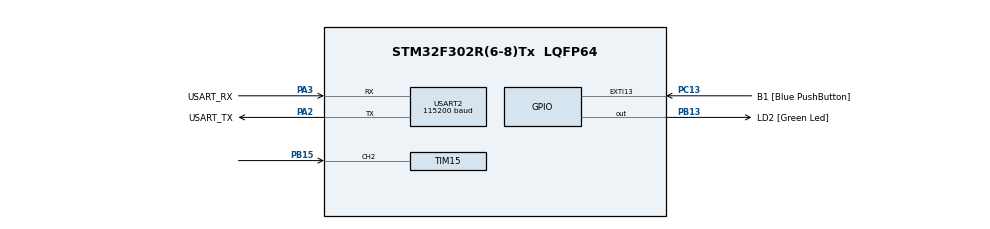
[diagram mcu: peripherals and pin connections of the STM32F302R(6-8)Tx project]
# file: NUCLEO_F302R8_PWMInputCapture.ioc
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Mcu.Family=STM32F3
Mcu.Name=STM32F302R(6-8)Tx
Mcu.Package=LQFP64
NVIC.PriorityGroup=NVIC_PRIORITYGROUP_0
NVIC.TIM1_BRK_TIM15_IRQn=true\:0\:0\:false\:false\:false\:true\:true
PA13.GPIO_Label=TMS
PA13.Mode=Trace_Asynchronous_SW
PA13.Signal=SYS_JTMS-SWDIO
PA14.GPIO_Label=TCK
PA14.Mode=Trace_Asynchronous_SW
PA14.Signal=SYS_JTCK-SWCLK
PA2.GPIO_Label=USART_TX
PA2.GPIO_Mode=GPIO_MODE_AF_PP
PA2.GPIO_PuPd=GPIO_NOPULL
PA2.GPIO_Speed=GPIO_SPEED_FREQ_LOW
PA2.Mode=Asynchronous
PA2.Signal=USART2_TX
PA3.GPIO_Label=USART_RX
PA3.GPIO_Mode=GPIO_MODE_AF_PP
PA3.GPIO_PuPd=GPIO_NOPULL
PA3.GPIO_Speed=GPIO_SPEED_FREQ_LOW
PA3.Mode=Asynchronous
PA3.Signal=USART2_RX
PB13.GPIO_Label=LD2 [Green Led]
PB13.Signal=GPIO_Output
PB15.Signal=S_TIM15_CH2
PB3.GPIO_Label=SWO
PB3.Mode=Trace_Asynchronous_SW
PB3.Signal=SYS_JTDO-TRACESWO
PC13.GPIO_Label=B1 [Blue PushButton]
PC13.GPIO_ModeDefaultEXTI=GPIO_MODE_IT_FALLING
PC13.GPIO_PuPd=GPIO_PULLUP
PC13.Signal=GPXTI13
PC14\ -\ OSC32_IN.Mode=LSE-External-Oscillator
PC14\ -\ OSC32_IN.Signal=RCC_OSC32_IN
PC15\ -\ OSC32_OUT.Mode=LSE-External-Oscillator
PC15\ -\ OSC32_OUT.Signal=RCC_OSC32_OUT
PF0-OSC_IN.Mode=HSE-External-Clock-Source
PF0-OSC_IN.Signal=RCC_OSC_IN
PF1-OSC_OUT.Signal=RCC_OSC_OUT
ProjectManager.HeapSize=0x200
ProjectManager.StackSize=0x400
ProjectManager.TargetToolchain=TrueSTUDIO
RCC.AHBFreq_Value=64000000
RCC.APB1CLKDivider=RCC_HCLK_DIV2
RCC.APB1Freq_Value=32000000
RCC.APB1TimFreq_Value=64000000
RCC.APB2Freq_Value=64000000
RCC.APB2TimFreq_Value=64000000
RCC.CortexFreq_Value=64000000
RCC.HCLKFreq_Value=64000000
RCC.HSE_VALUE=8000000
RCC.HSI_VALUE=8000000
RCC.PLLM=8
RCC.PLLMUL=RCC_PLL_MUL16
RCC.PLLN=336
RCC.PLLP=RCC_PLLP_DIV4
RCC.PLLQ=7
RCC.RCC_PLLsource_Clock_Source_FROM_HSE=RCC_HSE_PREDIV_DIV2
RCC.SYSCLKFreq_VALUE=64000000
RCC.SYSCLKSourceVirtual=RCC_SYSCLKSOURCE_PLLCLK
RCC.USBFreq_Value=64000000
SH.S_TIM15_CH2.0=TIM15_CH2,Input_Capture2_from_TI2
TIM15.Channel-Input_Capture2_from_TI2=TIM_CHANNEL_2
TIM15.ClockDivision=TIM_CLOCKDIVISION_DIV1
TIM15.ICFilter_CH2=0
TIM15.ICPrescaler-Input_Capture2_from_TI2=TIM_ICPSC_DIV1
TIM15.Period=65535
TIM15.Prescaler=7
USART2.BaudRate=115200
USART2.VirtualMode-Asynchronous=VM_ASYNC
VP_TIM15_VS_ClockSourceINT.Mode=Internal
board=NUCLEO-F302R8

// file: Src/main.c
/* USER CODE BEGIN Header */
/*
 * @ 名称: main.c
 * @ 作者: SummerFalls
 * @ 日期: 2019-8-30
 * @ 版本: V1.0
 * @ 描述:
 * MIT License. Copyright (c) 2019 SummerFalls.
 */
/* USER CODE END Header */

#include "main.h"
#include "tim.h"
#include "usart.h"
#include "gpio.h"

/* USER CODE BEGIN Includes */
#include <stdint.h> /* 数据类型 */

#include <stdio.h>  /* 输入输出 */
#include <stdlib.h> /* 常用实用函数 */
#include <stddef.h> /* 常用定义 */
#include <string.h> /* 字符串处理 */
/* USER CODE END Includes */

/* USER CODE BEGIN PTD */
typedef enum {
    IC_START = 0,
    IC_WAIT_RISING,
    IC_WAIT_FALLING,
} IC_State_TypeDef;

typedef struct {
    uint32_t Period;
    uint32_t PulseWidth;
    uint32_t DutyCycle;
    uint32_t Frequency;
    uint32_t OverflowCnt;
    IC_State_TypeDef IC_State; /* 用于控制当前捕获的边沿 */
} PWM_IN_TypeDef;
/* USER CODE END PTD */

/* USER CODE BEGIN PD */
#define F_SAMPLING 8000000UL /* PWM输入捕获采样频率_单位: Hz */
/* USER CODE END PD */

/* USER CODE BEGIN PV */
PWM_IN_TypeDef g_PWM_IN = { 0 };
LL_RCC_ClocksTypeDef RCC_Clocks = { 0 };
uint32_t g_Cnt = 0;
/* USER CODE END PV */

void SystemClock_Config(void);

/* USER CODE BEGIN 0 */
void GTek_PWM_InputMode_Init(void) {
    LL_TIM_CC_EnableChannel(TIM15, LL_TIM_CHANNEL_CH2);

    LL_TIM_EnableCounter(TIM15);

    LL_TIM_EnableIT_UPDATE(TIM15);
    LL_TIM_EnableIT_CC2(TIM15);
}

/*******************************************************************************
 * @name   : TIM1_BRK_TIM15_IRQHandler
 * @brief  : TIM1_刹车__TIM15_PWM输入模式
 * @param  : void
 * @retval : void
 * @note   : 以下请参照参考手册
 *           654页: CKD[1:0]位(Clock Division)
 *           665页：ICxF[3:0]位(Input Capture x Filter)
 *
 *           TIMx_CLK = HCLK / (Prescaler + 1) = 64 MHz / (7 + 1) = 8 MHz
 *           f(DTS) = TIMx_CLK / CKD = 8 MHz / 1 = 8 MHz
 *           因为 ICxF[3:0] = 0，所以：
 *           1. (ICxF[3:0] = 0   ) f(sampling) = f(DTS)
 *              (ICxF[3:0] = 1~3 ) f(sampling) = TIMx_CLK
 *              (ICxF[3:0] = 4~15) f(sampling) = f(DTS) / Y
 *           2. 连续检测周期数 N = 1
 *
 *           采样周期宽度 = 1s / f(sampling) = 0.125 us
 *           连续采样周期宽度 = 采样周期宽度 * N = 0.125 us
 *           所以如果输入电平信号宽度小于 0.125 us 时，会被滤除，不被采样
 *
 *           假设输入的PWM占空比精度为：1%
 *           则必须满足输入的PWM_Period >= 0.125 us * 100 = 25 us
 *           即理论允许采样的最大PWM频率为：80 KHz
 *
 *           PWM_Freq = f(sampling) / g_PWM_IN.Period
 *           PWM_DutyCycle = g_PWM_IN.PulseWidth / g_PWM_IN.Period
 *
 *           测试输入PWM 2 Hz ~ 10 KHz
 *******************************************************************************/
void TIM1_BRK_TIM15_IRQHandler(void) {
    if ((LL_TIM_IsActiveFlag_UPDATE(TIM15) != RESET) && (LL_TIM_IsEnabledIT_UPDATE(TIM15) != RESET)) {
        LL_TIM_ClearFlag_UPDATE(TIM15);

//        printf("\r\n__UPDATE 溢出__\r\n");

        g_PWM_IN.OverflowCnt++;
    }

    if ((LL_TIM_IsActiveFlag_CC2(TIM15) != RESET) && (LL_TIM_IsEnabledIT_CC2(TIM15) != RESET)) {
        LL_TIM_ClearFlag_CC2(TIM15);

        switch (g_PWM_IN.IC_State) {
            case IC_START:
                /*
                 * 进入 IC_START 分支，说明已发生上升沿触发，
                 * 此时配置为下降沿捕获，等待下降沿触发中断。
                 *
                 * NOTE: 定时器初始化函数中需要配置为 "上升沿触发"
                 */
                g_PWM_IN.IC_State = IC_WAIT_FALLING;
                g_PWM_IN.OverflowCnt = 0;
                LL_TIM_SetCounter(TIM15, 0);

                /* 设置为下降沿捕获 */
                LL_TIM_IC_SetPolarity(TIM15, LL_TIM_CHANNEL_CH2, LL_TIM_IC_POLARITY_FALLING);
                break;

            case IC_WAIT_RISING:
                g_PWM_IN.Period = (LL_TIM_IC_GetCaptureCH2(TIM15) + 1) + (g_PWM_IN.OverflowCnt << 16U);
                g_PWM_IN.DutyCycle = (g_PWM_IN.PulseWidth * 100) / g_PWM_IN.Period;
                g_PWM_IN.Frequency = F_SAMPLING / g_PWM_IN.Period;

                g_PWM_IN.IC_State = IC_WAIT_FALLING;
                g_PWM_IN.OverflowCnt = 0;
                LL_TIM_SetCounter(TIM15, 0);

                /* 设置为下降沿捕获 */
                LL_TIM_IC_SetPolarity(TIM15, LL_TIM_CHANNEL_CH2, LL_TIM_IC_POLARITY_FALLING);
                break;

            case IC_WAIT_FALLING:
                g_PWM_IN.PulseWidth = (LL_TIM_IC_GetCaptureCH2(TIM15) + 1) + (g_PWM_IN.OverflowCnt << 16U);

                g_PWM_IN.IC_State = IC_WAIT_RISING;

                /* 设置为上升沿捕获 */
                LL_TIM_IC_SetPolarity(TIM15, LL_TIM_CHANNEL_CH2, LL_TIM_IC_POLARITY_RISING);
                break;

            default:
                /* 不应该进入此分支 */
                break;
        }
    }

    if ((LL_TIM_IsActiveFlag_CC2OVR(TIM15) != RESET) && (LL_TIM_IsEnabledIT_CC2(TIM15) != RESET)) {
        LL_TIM_ClearFlag_CC2OVR(TIM15);

//        printf("\r\n__CC2 捕获溢出__\r\n");
    }
}
/* USER CODE END 0 */

int main(void) {

    /* MCU Configuration--------------------------------------------------------*/

    /* Reset of all peripherals, Initializes the Flash interface and the Systick. */

    LL_APB2_GRP1_EnableClock(LL_APB2_GRP1_PERIPH_SYSCFG);
    LL_APB1_GRP1_EnableClock(LL_APB1_GRP1_PERIPH_PWR);

    NVIC_SetPriorityGrouping(NVIC_PRIORITYGROUP_0);

    /* System interrupt init*/

    /* Configure the system clock */
    SystemClock_Config();

    /* Initialize all configured peripherals */
    MX_GPIO_Init();
    MX_TIM15_Init();
    MX_USART2_UART_Init();
    /* USER CODE BEGIN 2 */
    LL_RCC_GetSystemClocksFreq(&RCC_Clocks);

    printf("------------ CLK Freq ------------\r\n");
    printf("SYSCLK_Frequency:\t%lu MHz\r\n", RCC_Clocks.SYSCLK_Frequency / 1000000);
    printf("HCLK_Frequency:\t\t%lu MHz\r\n", RCC_Clocks.HCLK_Frequency / 1000000);
    printf("PCLK1_Frequency:\t%lu MHz\r\n", RCC_Clocks.PCLK1_Frequency / 1000000);
    printf("PCLK2_Frequency:\t%lu MHz\r\n", RCC_Clocks.PCLK2_Frequency / 1000000);
    printf("----------------------------------\r\n\r\n\r\n");

    GTek_PWM_InputMode_Init();
    /* USER CODE END 2 */

    /* Infinite loop */
    /* USER CODE BEGIN WHILE */
    while (1) {
        LL_mDelay(100);
        printf("%lu 占空比：\t%lu %%\t频率：\t%lu Hz\r\n", g_Cnt++, g_PWM_IN.DutyCycle, g_PWM_IN.Frequency);
        /* USER CODE END WHILE */

    }
}

void SystemClock_Config(void) {
    LL_FLASH_SetLatency(LL_FLASH_LATENCY_2);

    if (LL_FLASH_GetLatency() != LL_FLASH_LATENCY_2) {
        Error_Handler();
    }
    LL_RCC_HSI_Enable();

    /* Wait till HSI is ready */
    while (LL_RCC_HSI_IsReady() != 1) {

    }
    LL_RCC_HSI_SetCalibTrimming(16);
    LL_RCC_PLL_ConfigDomain_SYS(LL_RCC_PLLSOURCE_HSI_DIV_2, LL_RCC_PLL_MUL_16);
    LL_RCC_PLL_Enable();

    /* Wait till PLL is ready */
    while (LL_RCC_PLL_IsReady() != 1) {

    }
    LL_RCC_SetAHBPrescaler(LL_RCC_SYSCLK_DIV_1);
    LL_RCC_SetAPB1Prescaler(LL_RCC_APB1_DIV_2);
    LL_RCC_SetAPB2Prescaler(LL_RCC_APB1_DIV_1);
    LL_RCC_SetSysClkSource(LL_RCC_SYS_CLKSOURCE_PLL);

    /* Wait till System clock is ready */
    while (LL_RCC_GetSysClkSource() != LL_RCC_SYS_CLKSOURCE_STATUS_PLL) {

    }
    LL_Init1msTick(64000000);
    LL_SYSTICK_SetClkSource(LL_SYSTICK_CLKSOURCE_HCLK);
    LL_SetSystemCoreClock(64000000);
    LL_RCC_SetTIMClockSource(LL_RCC_TIM15_CLKSOURCE_PCLK2);
}

void Error_Handler(void) {
}

/************************ (C) COPYRIGHT STMicroelectronics *****END OF FILE****/
